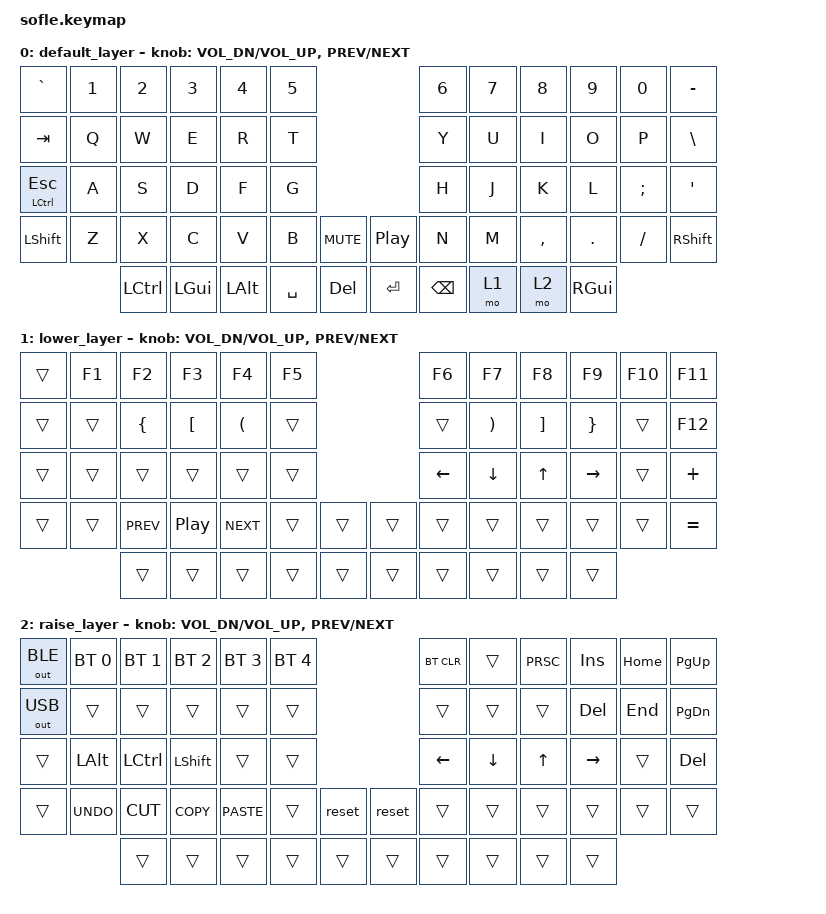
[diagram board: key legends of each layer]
/*
 * Copyright (c) 2020 The ZMK Contributors
 *
 * SPDX-License-Identifier: MIT
 */

#include <behaviors.dtsi>
#include <dt-bindings/zmk/outputs.h>
#include <dt-bindings/zmk/keys.h>
#include <dt-bindings/zmk/bt.h>

/ {
    behaviors {
            ht: hold_tap {
                    compatible = "zmk,behavior-hold-tap";
                    label = "Hold Tap";
                    #binding-cells = <2>;
                    tapping_term_ms = <150>;
                    flavor = "hold-preferred";
                    bindings = <&kp>, <&kp>;
            };
    };


    keymap {
        compatible = "zmk,keymap";

        default_layer {
// ------------------------------------------------------------------------------------------------------------
// |  `           |  1   |  2   |  3   |  4   |  5     |                   |  6   |  7    |  8    |  9   |   0   |   -   |
// |  TAB         |  Q   |  W   |  E   |  R   |  T     |                   |  Y   |  U    |  I    |  O   |   P   |   \   |
// |  L_CTRL(ESC) |  A   |  S   |  D   |  F   |  G     |                   |  H   |  J    |  K    |  L   |   ;   |   '   |
// | SHIFT        |  Z   |  X   |  C   |  V   |  B     | MUTE  |  PP       |  N   |  M    |  ,    |  .   |   /   | SHIFT |
//                       | CTRL | GUI  | ALT  | SPACE  | DELETE| ENTER     | BSPC | LOWER | UPPER | GUI  |
            bindings = <
&kp GRAVE     &kp N1    &kp N2    &kp N3    &kp N4    &kp N5                      &kp N6   &kp N7    &kp N8    &kp N9   &kp N0   &kp MINUS   
&kp TAB       &kp Q     &kp W     &kp E     &kp R     &kp T                       &kp Y    &kp U     &kp I     &kp O    &kp P    &kp BSLH
&ht LCTRL ESC &kp A     &kp S     &kp D     &kp F     &kp G                       &kp H    &kp J     &kp K     &kp L    &kp SEMI &kp SQT
&kp LSHFT     &kp Z     &kp X     &kp C     &kp V     &kp B     &kp C_MUTE &kp C_PP  &kp N    &kp M  &kp COMMA &kp DOT  &kp FSLH &kp RSHFT
                        &kp LCTRL &kp LGUI  &kp LALT  &kp SPACE &kp DEL    &kp RET   &kp BSPC &mo 1  &mo 2 &kp RGUI
            >;

            sensor-bindings = <&inc_dec_kp C_VOL_DN C_VOL_UP &inc_dec_kp C_PREV C_NEXT>;
        };

        lower_layer {
// TODO: Some binds are waiting for shifted keycode support.
// ------------------------------------------------------------------------------------------------------------
// |       |  F1 |  F2 |  F3  |  F4  |  F5  |                   |  F6  |  F7   |  F8   |  F9  |  F10  |  F11  |
// |       |     |  {  |  [   |  (   |      |                   |      |   )   |   ]   |   }  |       |  F12  |
// |       |     |     |      |      |      |                   |      |  <-   |   ^   |   v  |   ->  |   +   |
// |       |     |PREV | PP   | NEXT |      |        |  |       |      |       |       |      |       |   =   |
//               |     |      |      |      |        |  |       |      |       |       |      |
            bindings = <
&trans    &kp F1      &kp F2       &kp F3      &kp F4       &kp F5                    &kp F6    &kp F7   &kp F8          &kp F9    &kp F10   &kp F11
&trans    &trans      &kp LBRC     &kp LBKT    &kp LPAR     &trans                    &trans    &kp RPAR &kp RBKT        &kp RBRC  &trans    &kp F12
&trans    &trans      &trans       &trans      &trans       &trans                    &kp LEFT  &kp DOWN &kp UP          &kp RIGHT &trans    &kp PLUS
&trans    &trans      &kp C_PREV   &kp C_PP    &kp C_NEXT   &trans    &trans   &trans &trans    &trans   &trans          &trans    &trans    &kp EQUAL
                      &trans       &trans      &trans       &trans    &trans   &trans &trans    &trans   &trans          &trans
            >;

            sensor-bindings = <&inc_dec_kp C_VOL_DN C_VOL_UP &inc_dec_kp C_PREV C_NEXT>;
        };

        raise_layer {
// ------------------------------------------------------------------------------------------------------------
// |BLE  | BT1  | BT2  |  BT3  |  BT4  |  BT5 |                  | BTCLR|      | PRSC  | INS  | HOME  | PG_UP   |
// |USB  |      |      |       |       |      |                  |      |      |       | DEL  | END   | PG_DOWN |
// |     |      |      | SHIFT |       |      |                  |  <-  |   ^  |   v   |  ->  |       | DEL     |
// |     | UNDO | CUT  | COPY  | PASTE |      | RESET |  | RESET |      |      |       |      |       |         |
//              |      |       |       |      |       |  |       |      |      |       |      |
            bindings = <
&out OUT_BLE &bt BT_SEL 0 &bt BT_SEL 1 &bt BT_SEL 2 &bt BT_SEL 3 &bt BT_SEL 4             &bt BT_CLR &trans    &kp PRSC &kp INS    &kp HOME  &kp PG_UP
&out OUT_USB &trans       &trans       &trans       &trans       &trans                   &trans     &trans    &trans   &kp DEL    &kp END   &kp PG_DN
&trans       &kp LALT     &kp LCTRL    &kp LSHFT    &trans       &trans                   &kp LEFT   &kp DOWN  &kp UP   &kp RIGHT  &trans    &kp DEL
&trans       &kp K_UNDO   &kp K_CUT    &kp K_COPY   &kp K_PASTE  &trans  &reset   &reset  &trans     &trans    &trans   &trans     &trans    &trans
                        &trans       &trans       &trans       &trans  &trans   &trans  &trans       &trans    &trans   &trans
            >;

            sensor-bindings = <&inc_dec_kp C_VOL_DN C_VOL_UP &inc_dec_kp C_PREV C_NEXT>;
        };
    };
};
